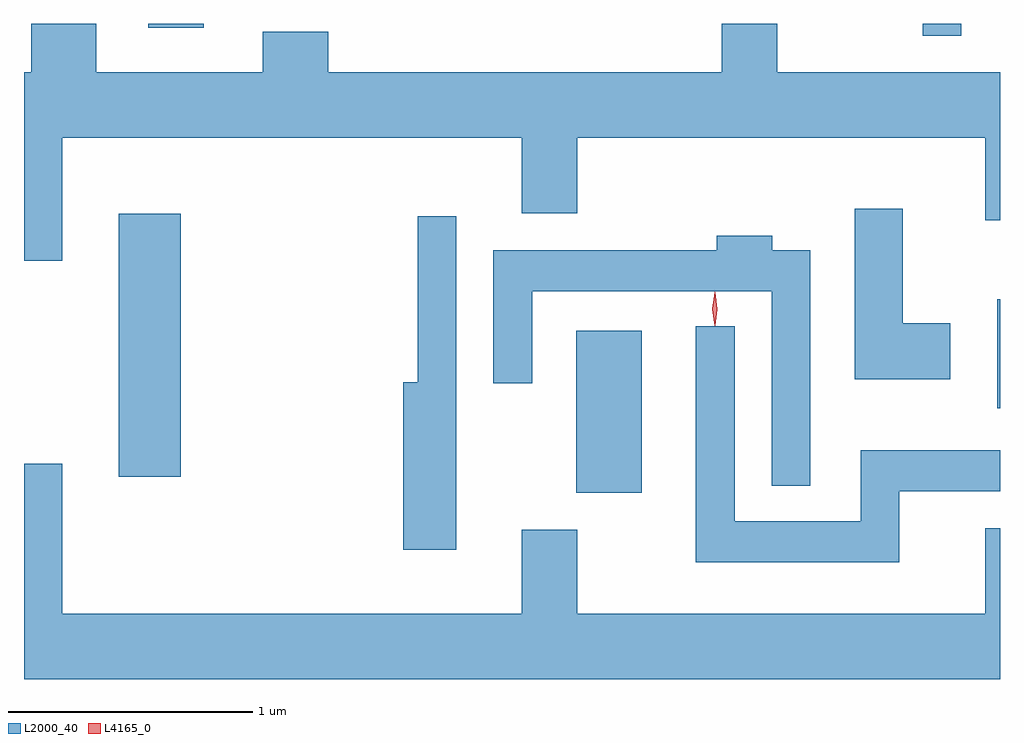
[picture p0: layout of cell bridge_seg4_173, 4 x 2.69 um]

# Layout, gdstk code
import gdstk
lib = gdstk.Library(unit=1e-6, precision=1e-09)
def R(c, l, rs):  # rectangles x0, y0, x1, y1
    for r in rs: c.add(gdstk.rectangle(r[:2], r[2:], *l))
def P(c, l, *ps):  # polygons
    for p in ps: c.add(gdstk.Polygon(p, *l))
L2000_40 = (2000, 40)
L4165_0 = (4165, 0)

bridge_seg4_173 = lib.new_cell('bridge_seg4_173')
R(bridge_seg4_173, L2000_40, [(951.196,1306.601,951.464,1307.264), (949.321,1306.666,949.574,1307.744), (952.921,1306.946,952.932,1307.394), (952.616,1308.473,952.774,1308.522), (949.441,1308.506,949.669,1308.522)])
P(bridge_seg4_173, L2000_40, [(950.971,1307.746),(951.199,1307.746),(951.199,1308.056),(952.871,1308.056),(952.871,1307.716),(952.932,1307.716),(952.932,1308.324),(952.019,1308.324),(952.019,1308.522),(951.791,1308.522),(951.791,1308.324),(950.179,1308.324),(950.179,1308.489),(949.911,1308.489),(949.911,1308.324),(949.229,1308.324),(949.229,1308.522),(948.961,1308.522),(948.961,1308.324),(948.932,1308.324),(948.932,1307.551),(949.089,1307.551),(949.089,1308.056),(950.971,1308.056)],
  [(952.729,1307.294),(952.534,1307.294),(952.534,1307.764),(952.336,1307.764),(952.336,1307.066),(952.729,1307.066)],
  [(950.704,1307.733),(950.546,1307.733),(950.546,1307.054),(950.486,1307.054),(950.486,1306.366),(950.704,1306.366)],
  [(952.154,1307.594),(951.999,1307.594),(951.999,1307.654),(951.771,1307.654),(951.771,1307.594),(950.856,1307.594),(950.856,1307.048),(951.014,1307.048),(951.014,1307.426),(951.996,1307.426),(951.996,1306.628),(952.154,1306.628)],
  [(952.519,1306.606),(952.932,1306.606),(952.932,1306.774),(952.361,1306.774),(952.361,1306.484),(951.844,1306.484),(951.844,1307.283),(951.686,1307.283),(951.686,1306.316),(952.519,1306.316)],
  [(952.932,1306.454),(952.871,1306.454),(952.871,1306.104),(951.199,1306.104),(951.199,1306.449),(950.971,1306.449),(950.971,1306.104),(949.089,1306.104),(949.089,1306.719),(948.932,1306.719),(948.932,1305.836),(952.932,1305.836)])
P(bridge_seg4_173, L4165_0, [(951.763,1307.284),(951.763,1307.284),(951.753,1307.353),(951.763,1307.422),(951.763,1307.423),(951.764,1307.422),(951.773,1307.353),(951.764,1307.284)],
  [(951.762,1307.287),(951.762,1307.288),(951.752,1307.354),(951.762,1307.42),(951.762,1307.42),(951.763,1307.42),(951.772,1307.354),(951.763,1307.288)])

lib.write_gds('bridge_seg4_173.gds')
